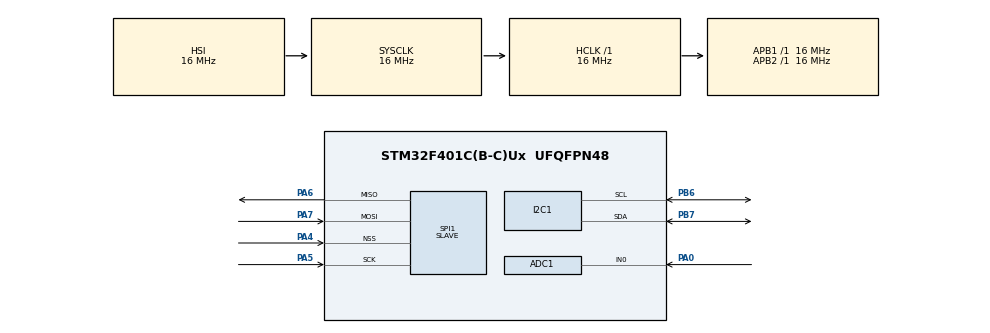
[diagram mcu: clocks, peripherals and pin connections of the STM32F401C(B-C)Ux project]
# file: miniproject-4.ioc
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ADC1.Channel-0\#ChannelRegularConversion=ADC_CHANNEL_0
ADC1.DMAContinuousRequests=ENABLE
ADC1.ExternalTrigConv=ADC_EXTERNALTRIGCONV_T2_TRGO
ADC1.NbrOfConversionFlag=1
ADC1.Rank-0\#ChannelRegularConversion=1
ADC1.SamplingTime-0\#ChannelRegularConversion=ADC_SAMPLETIME_480CYCLES
ADC1.master=1
Dma.ADC1.1.Direction=DMA_PERIPH_TO_MEMORY
Dma.ADC1.1.FIFOMode=DMA_FIFOMODE_DISABLE
Dma.ADC1.1.Instance=DMA2_Stream0
Dma.ADC1.1.MemDataAlignment=DMA_MDATAALIGN_HALFWORD
Dma.ADC1.1.MemInc=DMA_MINC_ENABLE
Dma.ADC1.1.Mode=DMA_CIRCULAR
Dma.ADC1.1.PeriphDataAlignment=DMA_PDATAALIGN_HALFWORD
Dma.ADC1.1.PeriphInc=DMA_PINC_DISABLE
Dma.ADC1.1.Priority=DMA_PRIORITY_LOW
Dma.Request0=SPI1_TX
Dma.Request1=ADC1
Dma.SPI1_TX.0.Direction=DMA_MEMORY_TO_PERIPH
Dma.SPI1_TX.0.FIFOMode=DMA_FIFOMODE_DISABLE
Dma.SPI1_TX.0.Instance=DMA2_Stream3
Dma.SPI1_TX.0.MemDataAlignment=DMA_MDATAALIGN_BYTE
Dma.SPI1_TX.0.MemInc=DMA_MINC_ENABLE
Dma.SPI1_TX.0.Mode=DMA_CIRCULAR
Dma.SPI1_TX.0.PeriphDataAlignment=DMA_PDATAALIGN_BYTE
Dma.SPI1_TX.0.PeriphInc=DMA_PINC_DISABLE
Dma.SPI1_TX.0.Priority=DMA_PRIORITY_LOW
Mcu.Family=STM32F4
Mcu.Name=STM32F401C(B-C)Ux
Mcu.Package=UFQFPN48
NVIC.DMA2_Stream0_IRQn=true\:0\:0\:false\:false\:true\:false\:true\:true
NVIC.DMA2_Stream3_IRQn=true\:0\:0\:false\:false\:true\:false\:true\:true
NVIC.PriorityGroup=NVIC_PRIORITYGROUP_4
PA0-WKUP.Signal=ADCx_IN0
PA13.Mode=Serial_Wire
PA13.Signal=SYS_JTMS-SWDIO
PA14.Mode=Serial_Wire
PA14.Signal=SYS_JTCK-SWCLK
PA4.Mode=NSS_Signal_Hard_Input
PA4.Signal=SPI1_NSS
PA5.Mode=Full_Duplex_Slave
PA5.Signal=SPI1_SCK
PA6.Mode=Full_Duplex_Slave
PA6.Signal=SPI1_MISO
PA7.Mode=Full_Duplex_Slave
PA7.Signal=SPI1_MOSI
PB6.Mode=I2C
PB6.Signal=I2C1_SCL
PB7.Mode=I2C
PB7.Signal=I2C1_SDA
ProjectManager.HeapSize=0x200
ProjectManager.StackSize=0x400
ProjectManager.TargetToolchain=STM32CubeIDE
RCC.AHBFreq_Value=16000000
RCC.APB1Freq_Value=16000000
RCC.APB2Freq_Value=16000000
RCC.CortexFreq_Value=16000000
RCC.HSE_VALUE=25000000
RCC.HSI_VALUE=16000000
RCC.LSE_VALUE=32768
RCC.SYSCLKFreq_VALUE=16000000
RCC.VCOOutputFreq_Value=192000000
SH.ADCx_IN0.0=ADC1_IN0,IN0
SPI1.Direction=SPI_DIRECTION_2LINES
SPI1.Mode=SPI_MODE_SLAVE
SPI1.VirtualNSS=VM_NSSHARD
SPI1.VirtualType=VM_SLAVE
TIM2.Period=49
TIM2.Prescaler=1599
TIM2.TIM_MasterOutputTrigger=TIM_TRGO_UPDATE
VP_TIM2_VS_ClockSourceINT.Mode=Internal
board=custom

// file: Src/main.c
/* USER CODE BEGIN Header */
/**
  ******************************************************************************
  * @file           : main.c
  * @brief          : Main program body
  ******************************************************************************
  */
/* USER CODE END Header */
#include "main.h"

/* USER CODE BEGIN Includes */
// Прикладні модулі: кожен володіє своїм шматком роботи і сам стежить за своїм
// таймером. Тут лишається тільки підняти периферію і крутити цикл.
#include "i2c_bus.h"       // аварійне звільнення/відновлення шини I2C
#include "light_archive.h" // журнал освітлення у зовнішній EEPROM (0x50)
#include "display_ui.h"    // кадр на OLED: годинник, адреси, світло, темпи
#include "log_emission.h"  // SPI-slave: віддає Data Logs ESP32-майстру
#include "sensor_stream.h" // ADC(DMA)+RTC -> потік Data Logs
/* USER CODE END Includes */

/* USER CODE BEGIN PD */
// Налаштування (адреси, розкладка, періоди) винесено в config.h
/* USER CODE END PD */

ADC_HandleTypeDef hadc1;
DMA_HandleTypeDef hdma_adc1;

I2C_HandleTypeDef hi2c1;

SPI_HandleTypeDef hspi1;
DMA_HandleTypeDef hdma_spi1_tx;

TIM_HandleTypeDef htim2;

/* USER CODE BEGIN PV */
// Стан прикладного рівня тримають самі модулі (light_archive, display_ui,
// sensor_stream, log_emission) — тут лише хендли периферії з CubeMX вище.
/* USER CODE END PV */

void SystemClock_Config(void);
static void MX_GPIO_Init(void);
static void MX_DMA_Init(void);
static void MX_ADC1_Init(void);
static void MX_I2C1_Init(void);
static void MX_SPI1_Init(void);
static void MX_TIM2_Init(void);

/* USER CODE BEGIN 0 */
// Прикладна логіка живе в модулях поруч (Src/*.c): періодичний журнал у EEPROM
// (light_archive), кадр на OLED зі сканером шини (display_ui), відновлення шини
// I2C (i2c_bus), потік сенсорів (sensor_stream) і SPI-slave (log_emission).
// Тут лишається лише те, що генерує CubeMX: старт периферії й головний цикл.
/* USER CODE END 0 */

int main(void)
{

  /* MCU Configuration--------------------------------------------------------*/

  /* Reset of all peripherals, Initializes the Flash interface and the Systick. */
  HAL_Init();

  /* Configure the system clock */
  SystemClock_Config();

  /* Initialize all configured peripherals */
  MX_GPIO_Init();
  MX_DMA_Init();
  MX_ADC1_Init();
  MX_I2C1_Init();
  MX_SPI1_Init();
  MX_TIM2_Init();
  /* USER CODE BEGIN 2 */
  // Шина могла лишитись захопленою ще з минулого сеансу: якщо обмін обірвався
  // посеред байта, раб тримає SDA і скидання МК він не бачив — саме тому плата
  // піднімалась мертвою і оживала лише після зняття живлення з дисплея. Тому
  // ПЕРШИМ ділом доклацуємо шину, інакше і EEPROM, і дисплей нижче отримають
  // HAL_BUSY і не піднімуться.
  I2CBus_Release();
  MX_I2C1_Init();   // повертаємо PB6/PB7 з ручного GPIO назад у AF4

  // Журнал освітлення в зовнішній EEPROM: підхоплює вказівник запису з пам'яті.
  LightArchive_Init(&hi2c1);

  // Кадр на OLED-дисплеї на тій самій шині I2C1 (параметри — у config.h).
  DisplayUI_Init(&hi2c1);

  // SPI1 як slave: віддає накопичені Data Logs ESP32-майстру (PA4..PA7).
  LogEmission_Init();

  // Потокове зчитування сенсорів (ADC світла через TIM2+DMA, час з RTC) у
  // той самий SPI-потік. Має йти після MX_ADC1_Init/MX_I2C1_Init.
  // У режимі LOGEMIT_DEBUG_SPI сенсорний потік вимкнено: інакше реальні пакети
  // "LGHT"/"TIME" переписують налагоджувальну "пилку" 0x00..0xFF у SPI-кільці і
  // рамп зникає. Так MISO залишається стабільним сигналом для перевірки ліній.
  // Прибрати ці #if-guard'и для звичайної роботи (LOGEMIT_DEBUG_SPI = 0).
#if !LOGEMIT_DEBUG_SPI
  SensorStream_Init();
#endif
  /* USER CODE END 2 */

  /* Infinite loop */
  /* USER CODE BEGIN WHILE */
  while (1)
  {
    // Кожен модуль неблокуюче перевіряє свій таймер (HAL_GetTick) і виконує
    // роботу лише коли настав його період — деталі у відповідному *.c.
#if !LOGEMIT_DEBUG_SPI
    SensorStream_Poll();  // ADC(DMA)+RTC -> записи "LGHT"/"TIME" у SPI-потік
#endif
    LogEmission_ActivityPoll();  // блимання світлодіода PC13 при SPI-обміні з майстром
    LightArchive_Poll();  // архів освітлення в EEPROM (раз на годину)
    DisplayUI_Poll();     // сканування шини (10 с) + кадр на екрані (1 с)

    /* USER CODE END WHILE */

    /* USER CODE BEGIN 3 */
    // Тут можна додати інший код, який має виконуватись постійно,
    // наприклад, перевірка кнопок або мигання світлодіодом.
  }
  /* USER CODE END 3 */
}

void SystemClock_Config(void)
{
  RCC_OscInitTypeDef RCC_OscInitStruct = {0};
  RCC_ClkInitTypeDef RCC_ClkInitStruct = {0};

  /** Configure the main internal regulator output voltage
  */
  __HAL_RCC_PWR_CLK_ENABLE();
  __HAL_PWR_VOLTAGESCALING_CONFIG(PWR_REGULATOR_VOLTAGE_SCALE2);

  /** Initializes the RCC Oscillators according to the specified parameters
  * in the RCC_OscInitTypeDef structure.
  */
  RCC_OscInitStruct.OscillatorType = RCC_OSCILLATORTYPE_HSI;
  RCC_OscInitStruct.HSIState = RCC_HSI_ON;
  RCC_OscInitStruct.HSICalibrationValue = RCC_HSICALIBRATION_DEFAULT;
  RCC_OscInitStruct.PLL.PLLState = RCC_PLL_NONE;
  if (HAL_RCC_OscConfig(&RCC_OscInitStruct) != HAL_OK)
  {
    Error_Handler();
  }

  /** Initializes the CPU, AHB and APB buses clocks
  */
  RCC_ClkInitStruct.ClockType = RCC_CLOCKTYPE_HCLK|RCC_CLOCKTYPE_SYSCLK
                              |RCC_CLOCKTYPE_PCLK1|RCC_CLOCKTYPE_PCLK2;
  RCC_ClkInitStruct.SYSCLKSource = RCC_SYSCLKSOURCE_HSI;
  RCC_ClkInitStruct.AHBCLKDivider = RCC_SYSCLK_DIV1;
  RCC_ClkInitStruct.APB1CLKDivider = RCC_HCLK_DIV1;
  RCC_ClkInitStruct.APB2CLKDivider = RCC_HCLK_DIV1;

  if (HAL_RCC_ClockConfig(&RCC_ClkInitStruct, FLASH_LATENCY_0) != HAL_OK)
  {
    Error_Handler();
  }
}

static void MX_ADC1_Init(void)
{

  ADC_ChannelConfTypeDef sConfig = {0};

  /** Configure the global features of the ADC (Clock, Resolution, Data Alignment and number of conversion)
  */
  hadc1.Instance = ADC1;
  hadc1.Init.ClockPrescaler = ADC_CLOCK_SYNC_PCLK_DIV2;
  hadc1.Init.Resolution = ADC_RESOLUTION_12B;
  hadc1.Init.ScanConvMode = DISABLE;
  hadc1.Init.ContinuousConvMode = DISABLE;
  hadc1.Init.DiscontinuousConvMode = DISABLE;
  hadc1.Init.ExternalTrigConvEdge = ADC_EXTERNALTRIGCONVEDGE_RISING;
  hadc1.Init.ExternalTrigConv = ADC_EXTERNALTRIGCONV_T2_TRGO;
  hadc1.Init.DataAlign = ADC_DATAALIGN_RIGHT;
  hadc1.Init.NbrOfConversion = 1;
  hadc1.Init.DMAContinuousRequests = ENABLE;
  hadc1.Init.EOCSelection = ADC_EOC_SINGLE_CONV;
  if (HAL_ADC_Init(&hadc1) != HAL_OK)
  {
    Error_Handler();
  }

  /** Configure for the selected ADC regular channel its corresponding rank in the sequencer and its sample time.
  */
  sConfig.Channel = ADC_CHANNEL_0;
  sConfig.Rank = 1;
  sConfig.SamplingTime = ADC_SAMPLETIME_480CYCLES;
  if (HAL_ADC_ConfigChannel(&hadc1, &sConfig) != HAL_OK)
  {
    Error_Handler();
  }

}

static void MX_I2C1_Init(void)
{

  hi2c1.Instance = I2C1;
  hi2c1.Init.ClockSpeed = 100000;
  hi2c1.Init.DutyCycle = I2C_DUTYCYCLE_2;
  hi2c1.Init.OwnAddress1 = 0;
  hi2c1.Init.AddressingMode = I2C_ADDRESSINGMODE_7BIT;
  hi2c1.Init.DualAddressMode = I2C_DUALADDRESS_DISABLE;
  hi2c1.Init.OwnAddress2 = 0;
  hi2c1.Init.GeneralCallMode = I2C_GENERALCALL_DISABLE;
  hi2c1.Init.NoStretchMode = I2C_NOSTRETCH_DISABLE;
  if (HAL_I2C_Init(&hi2c1) != HAL_OK)
  {
    Error_Handler();
  }

}

static void MX_SPI1_Init(void)
{

  /* SPI1 parameter configuration*/
  hspi1.Instance = SPI1;
  hspi1.Init.Mode = SPI_MODE_SLAVE;
  hspi1.Init.Direction = SPI_DIRECTION_2LINES;
  hspi1.Init.DataSize = SPI_DATASIZE_8BIT;
  hspi1.Init.CLKPolarity = SPI_POLARITY_LOW;
  hspi1.Init.CLKPhase = SPI_PHASE_1EDGE;
  hspi1.Init.NSS = SPI_NSS_HARD_INPUT;
  hspi1.Init.FirstBit = SPI_FIRSTBIT_MSB;
  hspi1.Init.TIMode = SPI_TIMODE_DISABLE;
  hspi1.Init.CRCCalculation = SPI_CRCCALCULATION_DISABLE;
  hspi1.Init.CRCPolynomial = 10;
  if (HAL_SPI_Init(&hspi1) != HAL_OK)
  {
    Error_Handler();
  }

}

static void MX_TIM2_Init(void)
{

  TIM_ClockConfigTypeDef sClockSourceConfig = {0};
  TIM_MasterConfigTypeDef sMasterConfig = {0};

  htim2.Instance = TIM2;
  htim2.Init.Prescaler = 1599;
  htim2.Init.CounterMode = TIM_COUNTERMODE_UP;
  htim2.Init.Period = 49;
  htim2.Init.ClockDivision = TIM_CLOCKDIVISION_DIV1;
  htim2.Init.AutoReloadPreload = TIM_AUTORELOAD_PRELOAD_DISABLE;
  if (HAL_TIM_Base_Init(&htim2) != HAL_OK)
  {
    Error_Handler();
  }
  sClockSourceConfig.ClockSource = TIM_CLOCKSOURCE_INTERNAL;
  if (HAL_TIM_ConfigClockSource(&htim2, &sClockSourceConfig) != HAL_OK)
  {
    Error_Handler();
  }
  sMasterConfig.MasterOutputTrigger = TIM_TRGO_UPDATE;
  sMasterConfig.MasterSlaveMode = TIM_MASTERSLAVEMODE_DISABLE;
  if (HAL_TIMEx_MasterConfigSynchronization(&htim2, &sMasterConfig) != HAL_OK)
  {
    Error_Handler();
  }

}

static void MX_DMA_Init(void)
{

  /* DMA controller clock enable */
  __HAL_RCC_DMA2_CLK_ENABLE();

  /* DMA interrupt init */
  /* DMA2_Stream0_IRQn interrupt configuration */
  HAL_NVIC_SetPriority(DMA2_Stream0_IRQn, 0, 0);
  HAL_NVIC_EnableIRQ(DMA2_Stream0_IRQn);
  /* DMA2_Stream3_IRQn interrupt configuration */
  HAL_NVIC_SetPriority(DMA2_Stream3_IRQn, 0, 0);
  HAL_NVIC_EnableIRQ(DMA2_Stream3_IRQn);

}

static void MX_GPIO_Init(void)
{

  /* GPIO Ports Clock Enable */
  __HAL_RCC_GPIOA_CLK_ENABLE();
  __HAL_RCC_GPIOB_CLK_ENABLE();

}

void Error_Handler(void)
{
  __disable_irq();
  while (1)
  {
  }
}
